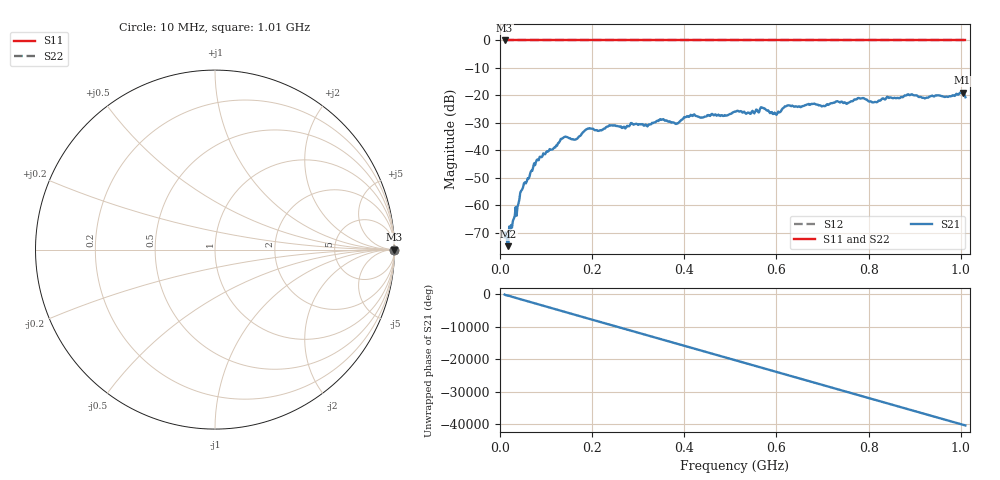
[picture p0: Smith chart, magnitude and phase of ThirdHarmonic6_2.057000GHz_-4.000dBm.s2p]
! 8/17/2025 12:39:04 AM
! C:\ANRITSUVNA\TEMP\TEMP.S2P
! CHANNEL.1
! TR.MEASUREMENT
! RAW.DATA
! RF.CORRECTION.OFF
! AVERAGING.OFF
! IF.BANDWIDTH: 5KHZ
! SWEEPTYPE:  FREQ.SWEEP(Linear)
! Reference Plane Port Info
! PORT:  PORT1  PORT2
! DISTANCE:  0  m  0  m
! TIME:  0  s  0  s
! PHASE.OFFSET:  0  deg.  0  deg.
! LOSS:  0  dB  0  dB
! REF.LOSS:  0  dB  0  dB
! REF.FREQ:  0  Hz  0  Hz
! Power Info
! POWER:  -20  dBm  -20  dBm
! EFF.POWER:  -20  dBm  -20  dBm
! SOURCE.ATTEN:  0  dB  0  dB
! TEST.ATTEN:  0  dB  0  dB
# GHZ S RI R 50.0
! FREQ.GHZ  S11RE  S11IM  S21RE  S21IM  S12RE  S12IM  S22RE  S22IM
!; PortSelection: Port_12
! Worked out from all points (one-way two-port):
!   501 points, 10 MHz to 1.01 GHz, reference 50 ohm
!   highest |S21| = -18.98 dB at 1.004 GHz (marker M1); lowest = -74.8 dB at 18 MHz (marker M2)
!   lowest |S11| = 0.0 dB at 10 MHz (marker M3)
!   |S11| at or under -10 dB: nowhere
!   |S22| runs from 0.0 to 0.0 dB; largest |S21 - S12| = 1.1
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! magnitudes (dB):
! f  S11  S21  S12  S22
! 10 MHz  0.0  -71.6  0.0  0.0
! 18 MHz  0.0  -74.8  0.0  0.0
! 48 MHz  0.0  -54.3  0.0  0.0
! 78 MHz  0.0  -44.2  0.0  0.0
! 136 MHz  0.0  -35.5  0.0  0.0
! 164 MHz  0.0  -36.0  0.0  0.0
! 178 MHz  0.0  -33.8  0.0  0.0
! 192 MHz  0.0  -32.1  0.0  0.0
! 316 MHz  0.0  -30.6  0.0  0.0
! 344 MHz  0.0  -29.3  0.0  0.0
! 384 MHz  0.0  -30.2  0.0  0.0
! 418 MHz  0.0  -27.5  0.0  0.0
! 510 MHz  0.0  -25.9  0.0  0.0
! 570 MHz  0.0  -24.5  0.0  0.0
! 596 MHz  0.0  -26.2  0.0  0.0
! 622 MHz  0.0  -23.8  0.0  0.0
! 678 MHz  0.0  -23.1  0.0  0.0
! 782 MHz  0.0  -21.2  0.0  0.0
! 814 MHz  0.0  -22.4  0.0  0.0
! 844 MHz  0.0  -20.9  0.0  0.0
! 1.004 GHz  0.0  -19.0  0.0  0.0
! 1.01 GHz  0.0  -20.7  0.0  0.0
